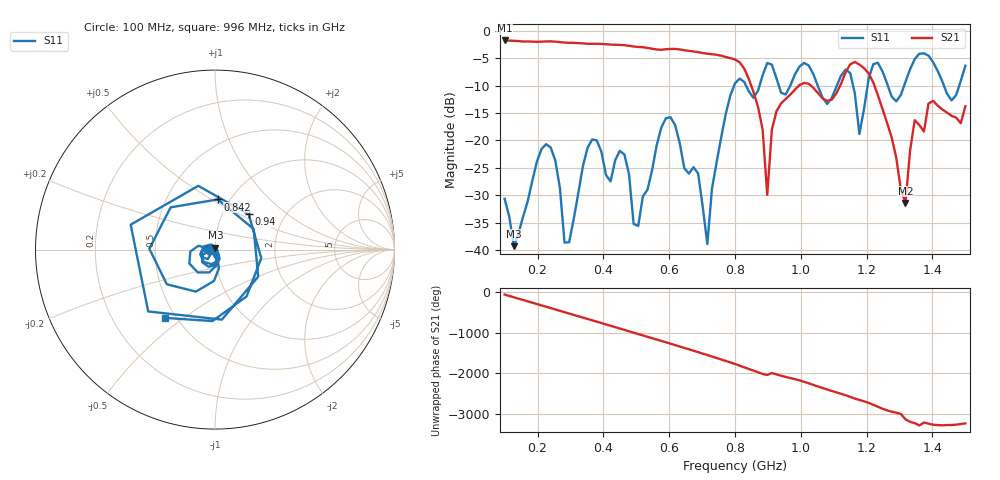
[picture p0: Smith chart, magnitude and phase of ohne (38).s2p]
! NanoVNA-App
! Date: 2025-09-26 09:55:41
! Start: 100MHz Stop: 1,5GHz Points: 101
! S-Parameter data: F S11 S21 S12 S22
# Hz S RI R 50
!  Frequency  S11_Real  S11_Imag  S21_Real  S21_Imag  S12_Real  S12_Imag  S22_Real  S22_Imag
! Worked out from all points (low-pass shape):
!   101 points, 100 MHz to 1.5 GHz, reference 50 ohm
!   highest |S21| = -1.79 dB at 100 MHz (marker M1); lowest = -31.4 dB at 1.318 GHz (marker M2)
!   |S21| within 3 dB of the highest: start of sweep to 771 MHz
!   lowest |S11| = -39.3 dB at 128 MHz (marker M3), VSWR 1.02, Z = 50.3 + j1.06 ohm
!   |S11| at or under -10 dB: start of sweep to 797.5 MHz; 833.4 MHz to 874.7 MHz (41.3 MHz wide, 4.84 % of centre); 1.051 GHz to 1.11 GHz (58.5 MHz wide, 5.42 % of centre)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
!   S12 and S22 are empty: the file has one direction only
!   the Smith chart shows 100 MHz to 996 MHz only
!   S11 on the Smith chart (normalised r, x): 100 MHz: 0.94, -0.01; 842 MHz: 0.88, +0.53; 940 MHz: 1.33, +0.56; 996 MHz: 0.44, -0.43
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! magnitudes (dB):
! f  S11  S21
! 100 MHz  -30.6  -1.8
! 128 MHz  -39.3  -1.9
! 212 MHz  -21.6  -2.0
! 282 MHz  -38.6  -2.2
! 338 MHz  -24.7  -2.3
! 464 MHz  -22.6  -2.7
! 506 MHz  -35.6  -3.0
! 576 MHz  -17.7  -3.5
! 716 MHz  -38.9  -4.2
! 800 MHz  -9.6  -5.3
! 842 MHz  -11.1  -8.8
! 898 MHz  -5.9  -29.9
! 940 MHz  -11.3  -13.3
! 996 MHz  -6.5  -9.9
! 1.038 GHz  -7.9  -10.4
! 1.15 GHz  -7.7  -6.1
! 1.178 GHz  -18.8  -6.2
! 1.22 GHz  -6.1  -9.4
! 1.276 GHz  -12.0  -19.5
! 1.318 GHz  -9.3  -31.4
! 1.346 GHz  -5.2  -16.3
! 1.5 GHz  -6.4  -13.8
